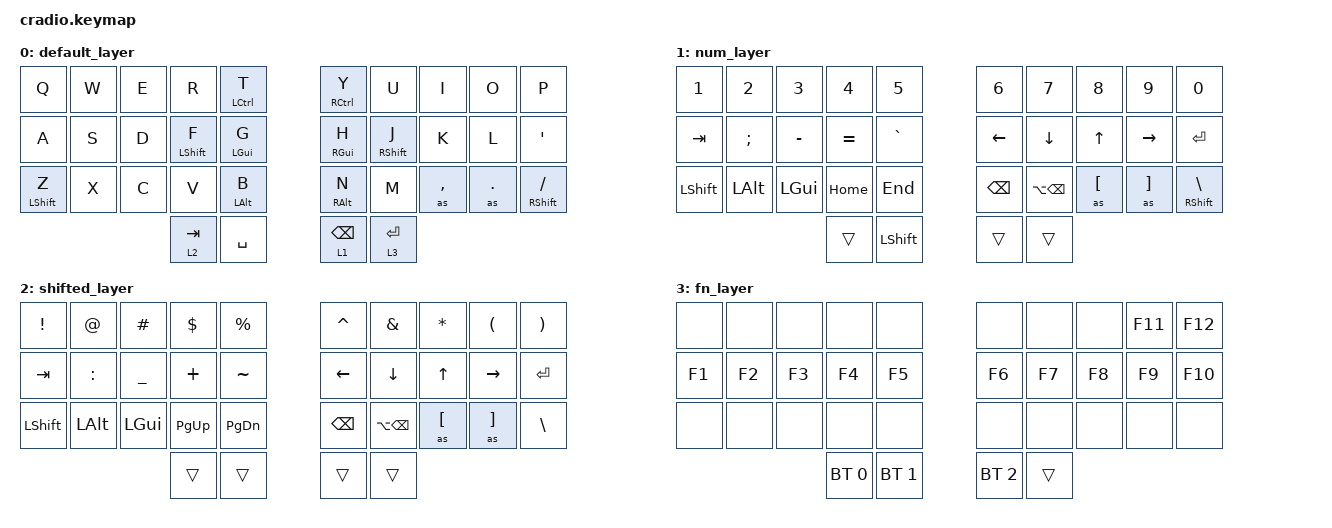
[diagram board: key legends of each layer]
// Copyright (c) 2022 The ZMK Contributors
// SPDX-License-Identifier: MIT

#include <behaviors.dtsi>
#include <dt-bindings/zmk/keys.h>
#include <dt-bindings/zmk/bt.h>

/ {
    behaviors {
        ht: hold_tap {
            compatible = "zmk,behavior-hold-tap";
            #binding-cells = <2>;
            flavor = "tap-preferred";
            tapping-term-ms = <250>;
            quick-tap-ms = <220>;
            require-prior-idle-ms = <125>;
            bindings = <&kp>, <&kp>;
        };
        mt: mod_tap {

            #binding-cells = <2>;
            tapping-term-ms = <350>;
            quick-tap-ms = <100>;
            require-prior-idle-ms = <125>;
            bindings = <&kp>, <&kp>;
        };
        as_ht: autoshift_hold_tap {
            compatible = "zmk,behavior-hold-tap";
            #binding-cells = <2>;
            tapping-term-ms = <200>;
            bindings = <&shifted>, <&kp>;
            flavor = "tap-preferred";
        };
        combos {
            compatible = "zmk,combos";
            combo_esc {
                timeout-ms = <50>;
                key-positions = <0 1>;
                layers = <0>;
                bindings = <&kp ESC>;
            };
            combo_del {
                timeout-ms = <50>;
                layers = <0>;
                key-positions = <8 9>;
                bindings = <&kp DEL>;
            };
            combo_reset {
                timeout-ms = <50>;
                key-positions = <0 9>;
                layers = <3>;
                bindings = <&sys_reset>;
            };
            combo_boot {
                timeout-ms = <50>;
                key-positions = <5 20>;
                layers = <3>;
                bindings = <&bootloader>;
            };
            combo_caps_word {
                timeout-ms = <50>;
                key-positions = <13 16>;
                layers = <0>;
                bindings = <&caps_word>
            };
            combo_bt_clear {
                timeout-ms = <50>;
                key-positions = <0 10>;
                layers = <3>;
                bindings = <&bt BT_CLR>;
            };
        };
    };

    macros {
    shifted: macro_shifted_kp {
      #binding-cells = <1>;
      compatible = "zmk,behavior-macro-one-param";
      bindings =
        <&macro_press &kp LSHFT>,
        <&macro_param_1to1 &macro_tap &kp MACRO_PLACEHOLDER>,
        <&macro_release &kp LSHFT>;
    };

    as: autoshift {
      compatible = "zmk,behavior-macro-one-param";
      #binding-cells = <1>;
      bindings =
        <&macro_press>,
        <&macro_param_1to1>,
        <&macro_param_1to2>,
        <&as_ht MACRO_PLACEHOLDER MACRO_PLACEHOLDER>,
        <&macro_pause_for_release>,
        <&macro_release>,
        <&macro_param_1to1>,
        <&macro_param_1to2>,
        <&as_ht MACRO_PLACEHOLDER MACRO_PLACEHOLDER>;
    };
  };

    keymap {
        compatible = "zmk,keymap";
        default_layer {
            bindings = <
        //╭──────────┬──────────┬──────────┬──────────┬──────────╮      ╭──────────┬──────────┬──────────┬──────────┬──────────╮
        //│  Q       │  W       │  E       │  R       │  T       │      │  Y       │  U       │  I       │  O       │   P      │
            &kp Q      &kp W      &kp E      &kp R    &ht LCTRL T       &ht RCTRL Y      &kp U      &kp I      &kp O      &kp P
        //├──────────┼──────────┼──────────┼──────────┼──────────┤      ├──────────┼──────────┼──────────┼──────────┼──────────┤
        //│  A       │  S       │  D       │  F       │  G       │      │  H       │  J       │  K       │  L       │ ' "      │
            &kp A       &kp S       &kp D  &ht LSHFT F &ht LGUI G        &ht RGUI H  &ht RSHFT J &kp K     &kp L      &kp SQT
        //├──────────┼──────────┼──────────┼──────────┼──────────┤      ├──────────┼──────────┼──────────┼──────────┼──────────┤
        //│  Z       │  X       │  C       │  V       │  B       │      │  N       │   M      │ , <      │ . >      │ / ?      │
          &mt LSHIFT Z  &kp X      &kp C      &kp V    &ht LALT B        &ht RALT N   &kp M     &as COMMA  &as DOT   &mt RSHIFT FSLH
        //╰──────────┴──────────┴──────────┼──────────┼──────────┤      ├──────────┼──────────┼──────────┴──────────┴──────────╯
                                            &lt 2 TAB  &kp SPACE       &lt 1 BSPC  &lt 3 RET
        //                                 ╰──────────┴──────────╯      ╰──────────┴──────────╯
            >;
        };

        num_layer {
            bindings = <
        //╭──────────┬──────────┬──────────┬──────────┬──────────╮   ╭──────────┬──────────┬──────────┬──────────┬──────────╮
        //│  1       │    2     │     3    │    4     │    5     │   │    6     │    7     │    8     │    9     │    0     │
            &kp N1     &kp N2     &kp N3     &kp N4     &kp N5         &kp N6     &kp N7     &kp N8     &kp N9     &kp N0    
        //├──────────┼──────────┼──────────┼──────────┼──────────┤   ├──────────┼──────────┼──────────┼──────────┼──────────┤
        //│          │  : ;     │   - _    │  = +     │    ` ~   │   │   <      │    v     │  ^       │    >     │          │
            &kp TAB    &kp SEMI  &kp MINUS   &kp EQUAL  &kp GRAVE       &kp LEFT   &kp DOWN   &kp UP     &kp RIGHT  &kp RET
        //├──────────┼──────────┼──────────┼──────────┼──────────┤   ├──────────┼──────────┼──────────┼──────────┼──────────┤
        //│          │          │          │          │          │   │          │          │    [ {   │   ] }    │    \ |   │
            &kp LSHIFT &kp LALT   &kp LGUI    &kp HOME   &kp END      &kp BSPC  &kp LA(BSPC)   &as LBKT  &as RBKT  &mt RSHFT BSLH
        //╰──────────┴──────────┴──────────┼──────────┼──────────┤   ├──────────┼──────────┼──────────┴──────────┴──────────╯
                                             &trans     &kp LSHIFT         &trans     &trans
        //                                 ╰──────────┴──────────╯   ╰──────────┴──────────╯
            >;
        };
        shifted_layer {
            bindings = <
        //╭──────────┬──────────┬──────────┬──────────┬──────────╮   ╭──────────┬──────────┬──────────┬──────────┬──────────╮
        //│     !    │    @     │    #     │    $     │    %     │   │    ^     │    &     │     *    │     (    │    )     │
           &kp EXCL     &kp AT    &kp HASH   &kp DLLR   &kp PRCNT     &kp CARET   &kp AMPS    &kp STAR   &kp LPAR   &kp RPAR    
        //├──────────┼──────────┼──────────┼──────────┼──────────┤   ├──────────┼──────────┼──────────┼──────────┼──────────┤
        //│          │     :    │     _    │    +     │    ~     │   │   <      │    v     │  ^       │    >     │          │
            &kp TAB    &kp COLON  &kp UNDER  &kp PLUS    &kp TILDE     &kp LEFT   &kp DOWN   &kp UP     &kp RIGHT  &kp RET
        //├──────────┼──────────┼──────────┼──────────┼──────────┤   ├──────────┼──────────┼──────────┼──────────┼──────────┤
        //│          │          │          │          │          │   │          │          │    [ {   │   ] }    │    \ |   │
            &kp LSHIFT &kp LALT   &kp LGUI   &kp PG_UP  &kp PG_DN     &kp BSPC  &kp LA(BSPC)  &as LBKT  &as RBKT  &kp BSLH
        //╰──────────┴──────────┴──────────┼──────────┼──────────┤   ├──────────┼──────────┼──────────┴──────────┴──────────╯
                                             &trans     &trans         &trans     &trans
        //                                 ╰──────────┴──────────╯   ╰──────────┴──────────╯
            >;
        };

        fn_layer {
            bindings = <
        //╭──────────┬──────────┬──────────┬──────────┬──────────╮   ╭──────────┬──────────┬──────────┬──────────┬──────────╮
        //│          │          │          │          │          │   │          │          │          │  F11     │  F12     │
              &none     &none       &none     &none       &none       &none      &none      &none      &kp F11    &kp F12
        //├──────────┼──────────┼──────────┼──────────┼──────────┤   ├──────────┼──────────┼──────────┼──────────┼──────────┤
        //│  F1      │  F2      │  F3      │  F4      │  F5      │   │  F6      │  F7      │  F8      │  F9      │  F10     │
            &kp F1     &kp F2    &kp F3     &kp F4     &kp F5         &kp F6       &kp F7    &kp F8    &kp F9     &kp F10  
        //├──────────┼──────────┼──────────┼──────────┼──────────┤   ├──────────┼──────────┼──────────┼──────────┼──────────┤
        //│          │          │          │          │          │   │          │          │          │          │          │
            &none      &none      &none      &none      &none          &none      &none      &none      &none      &none 
        //╰──────────┴──────────┴──────────┼──────────┼──────────┤   ├──────────┼──────────┼──────────┴──────────┴──────────╯
                                            &bt BT_SEL 0 &bt BT_SEL 1 &bt BT_SEL 2     &trans
        //                                 ╰──────────┴──────────╯   ╰──────────┴──────────╯
            >;
        }; 
    };
};
